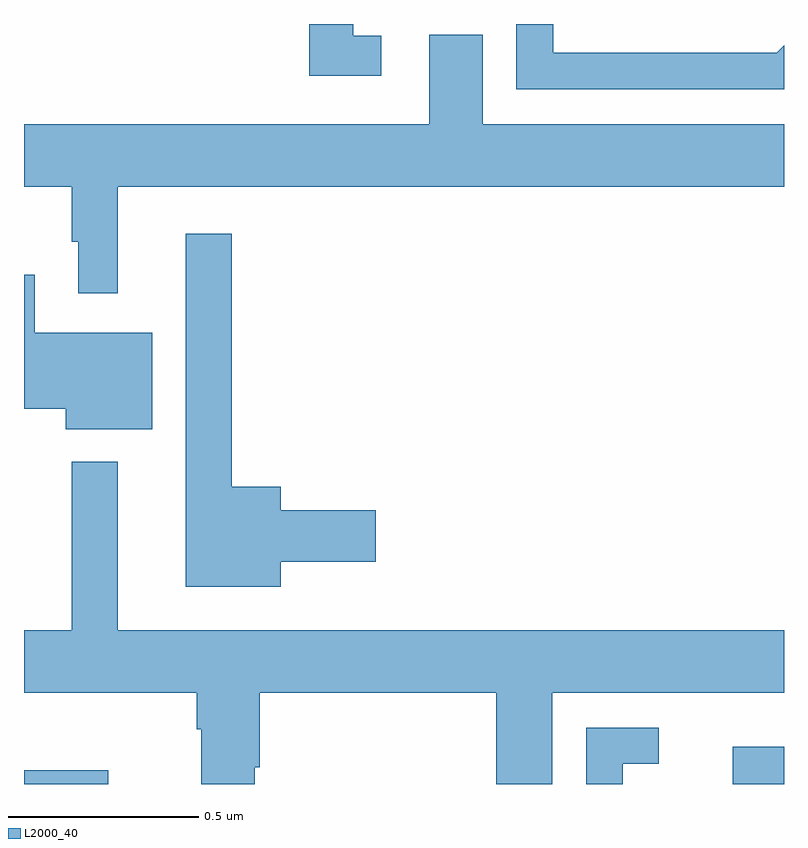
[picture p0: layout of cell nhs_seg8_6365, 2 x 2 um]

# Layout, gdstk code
import gdstk
lib = gdstk.Library(unit=1e-6, precision=1e-09)
def R(c, l, rs):  # rectangles x0, y0, x1, y1
    for r in rs: c.add(gdstk.rectangle(r[:2], r[2:], *l))
def P(c, l, *ps):  # polygons
    for p in ps: c.add(gdstk.Polygon(p, *l))
L2000_40 = (2000, 40)

nhs_seg8_6365 = lib.new_cell('nhs_seg8_6365')
R(nhs_seg8_6365, L2000_40, [(195,1142.9,195.222,1142.936), (196.865,1142.9,197,1142.998)])
P(nhs_seg8_6365, L2000_40, [(197,1144.844),(196.981,1144.825),(196.877,1144.825),(196.877,1144.824),(196.393,1144.824),(196.393,1144.9),(196.296,1144.9),(196.296,1144.728),(197,1144.728)],
  [(195.94,1144.869),(195.867,1144.869),(195.867,1144.9),(195.751,1144.9),(195.751,1144.764),(195.94,1144.764)],
  [(195.247,1144.472),(197,1144.472),(197,1144.636),(196.207,1144.636),(196.207,1144.872),(196.067,1144.872),(196.067,1144.636),(195,1144.636),(195,1144.472),(195.126,1144.472),(195.126,1144.327),(195.143,1144.327),(195.143,1144.191),(195.247,1144.191)],
  [(195.676,1143.485),(195.925,1143.485),(195.925,1143.62),(195.676,1143.62),(195.676,1143.682),(195.547,1143.682),(195.547,1144.348),(195.425,1144.348),(195.425,1143.419),(195.676,1143.419)],
  [(195.337,1144.087),(195.028,1144.087),(195.028,1144.24),(195,1144.24),(195,1143.887),(195.11,1143.887),(195.11,1143.833),(195.337,1143.833)],
  [(195.607,1142.944),(195.62,1142.944),(195.62,1143.14),(196.243,1143.14),(196.243,1142.9),(196.39,1142.9),(196.39,1143.14),(197,1143.14),(197,1143.304),(195.247,1143.304),(195.247,1143.748),(195.126,1143.748),(195.126,1143.304),(195,1143.304),(195,1143.14),(195.455,1143.14),(195.455,1143.044),(195.467,1143.044),(195.467,1142.9),(195.607,1142.9)],
  [(196.575,1142.953),(196.671,1142.953),(196.671,1143.048),(196.479,1143.048),(196.479,1142.9),(196.575,1142.9)])

lib.write_gds('nhs_seg8_6365.gds')
